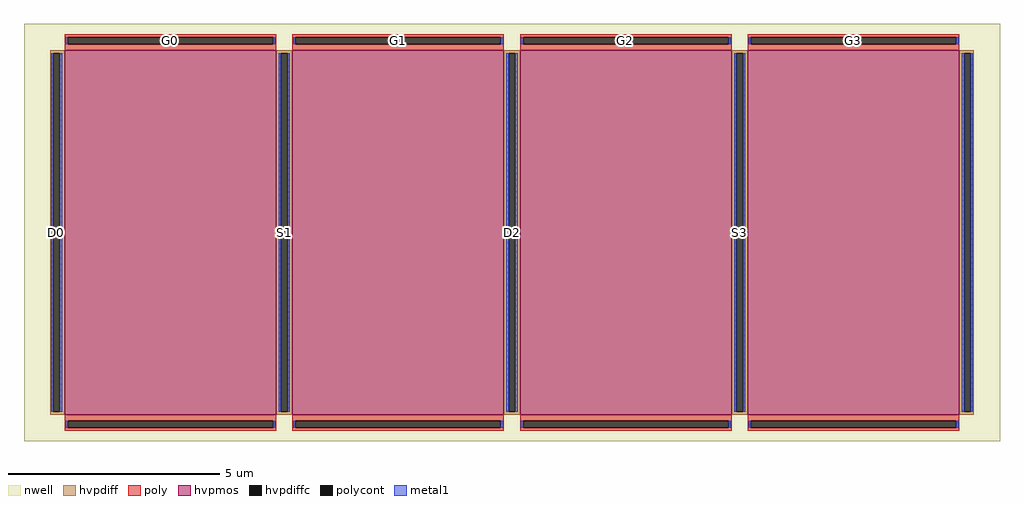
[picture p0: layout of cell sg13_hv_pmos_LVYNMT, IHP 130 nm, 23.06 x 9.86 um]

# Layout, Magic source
magic
tech ihp-sg13cmos5l
<< nwell >>
rect -1153 -493 1153 493
<< hvpmos >>
rect -1057 -431 -557 431
rect -519 -431 -19 431
rect 19 -431 519 431
rect 557 -431 1057 431
<< hvpdiff >>
rect -1091 424 -1057 431
rect -1091 -424 -1084 424
rect -1068 -424 -1057 424
rect -1091 -431 -1057 -424
rect -557 424 -519 431
rect -557 -424 -546 424
rect -530 -424 -519 424
rect -557 -431 -519 -424
rect -19 424 19 431
rect -19 -424 -8 424
rect 8 -424 19 424
rect -19 -431 19 -424
rect 519 424 557 431
rect 519 -424 530 424
rect 546 -424 557 424
rect 519 -431 557 -424
rect 1057 424 1091 431
rect 1057 -424 1068 424
rect 1084 -424 1091 424
rect 1057 -431 1091 -424
<< hvpdiffc >>
rect -1084 -424 -1068 424
rect -546 -424 -530 424
rect -8 -424 8 424
rect 530 -424 546 424
rect 1068 -424 1084 424
<< poly >>
rect -1057 461 -557 468
rect -1057 445 -1050 461
rect -564 445 -557 461
rect -1057 431 -557 445
rect -519 461 -19 468
rect -519 445 -512 461
rect -26 445 -19 461
rect -519 431 -19 445
rect 19 461 519 468
rect 19 445 26 461
rect 512 445 519 461
rect 19 431 519 445
rect 557 461 1057 468
rect 557 445 564 461
rect 1050 445 1057 461
rect 557 431 1057 445
rect -1057 -445 -557 -431
rect -1057 -461 -1050 -445
rect -564 -461 -557 -445
rect -1057 -468 -557 -461
rect -519 -445 -19 -431
rect -519 -461 -512 -445
rect -26 -461 -19 -445
rect -519 -468 -19 -461
rect 19 -445 519 -431
rect 19 -461 26 -445
rect 512 -461 519 -445
rect 19 -468 519 -461
rect 557 -445 1057 -431
rect 557 -461 564 -445
rect 1050 -461 1057 -445
rect 557 -468 1057 -461
<< polycont >>
rect -1050 445 -564 461
rect -512 445 -26 461
rect 26 445 512 461
rect 564 445 1050 461
rect -1050 -461 -564 -445
rect -512 -461 -26 -445
rect 26 -461 512 -445
rect 564 -461 1050 -445
<< metal1 >>
rect -1055 445 -1050 461
rect -564 445 -559 461
rect -517 445 -512 461
rect -26 445 -21 461
rect 21 445 26 461
rect 512 445 517 461
rect 559 445 564 461
rect 1050 445 1055 461
rect -1089 -424 -1084 424
rect -1068 -424 -1063 424
rect -551 -424 -546 424
rect -530 -424 -525 424
rect -13 -424 -8 424
rect 8 -424 13 424
rect 525 -424 530 424
rect 546 -424 551 424
rect 1063 -424 1068 424
rect 1084 -424 1089 424
rect -1055 -461 -1050 -445
rect -564 -461 -559 -445
rect -517 -461 -512 -445
rect -26 -461 -21 -445
rect 21 -461 26 -445
rect 512 -461 517 -445
rect 559 -461 564 -445
rect 1050 -461 1055 -445
<< labels >>
rlabel hvpdiffc -1076 0 -1076 0 0 D0
port 9 nsew
rlabel polycont -807 453 -807 453 0 G0
port 10 nsew
rlabel hvpdiffc -538 0 -538 0 0 S1
port 11 nsew
rlabel polycont -269 453 -269 453 0 G1
port 12 nsew
rlabel hvpdiffc 0 0 0 0 0 D2
port 13 nsew
rlabel polycont 269 453 269 453 0 G2
port 14 nsew
rlabel hvpdiffc 538 0 538 0 0 S3
port 15 nsew
rlabel polycont 807 453 807 453 0 G3
port 16 nsew
<< properties >>
string gencell sg13_hv_pmos
string library sg13cmos5l
string parameters w 8.615 l 5.0 m 1 ng 4 diffcov 100 polycov 100 guard 0 glc 1 grc 1 gtc 1 gbc 1 tbcov 100 rlcov 100 topc 1 botc 1 poverlap 0 doverlap 1 lmin 0.4 wmin 0.15 class mosfet compatible {sg13_lv_pmos sg13_hv_pmos} full_metal 1 conn_gates 0 gate_ring 0 ccols 1 viasrc 0 viadrn 0 viagate 0 viagb 0 viagr 0 viagl 0 viagt 0 doports 1
<< end >>
